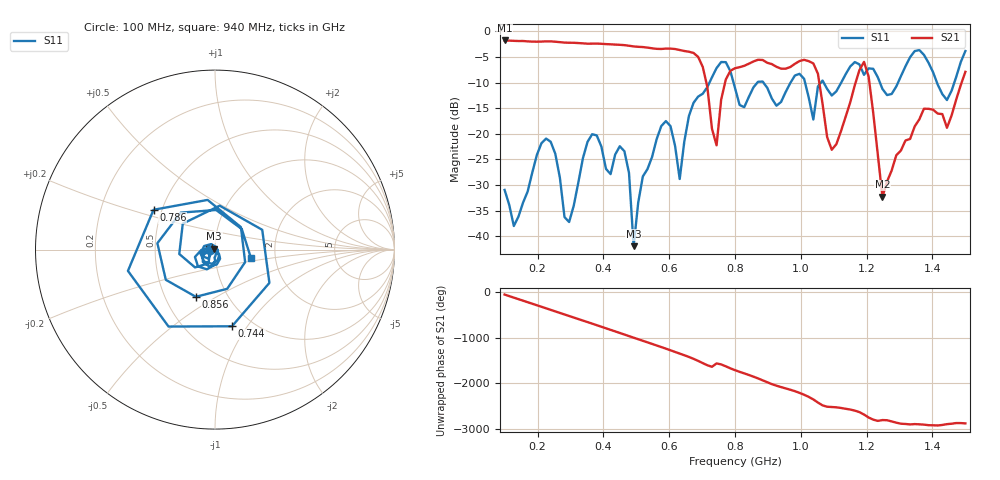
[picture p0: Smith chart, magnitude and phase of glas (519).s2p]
! NanoVNA-App
! Date: 2025-09-25 15:59:31
! Start: 100MHz Stop: 1,5GHz Points: 101
! S-Parameter data: F S11 S21 S12 S22
# Hz S RI R 50
!  Frequency  S11_Real  S11_Imag  S21_Real  S21_Imag  S12_Real  S12_Imag  S22_Real  S22_Imag
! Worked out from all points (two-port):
!   101 points, 100 MHz to 1.5 GHz, reference 50 ohm
!   highest |S21| = -1.80 dB at 100 MHz (marker M1); lowest = -32.3 dB at 1.248 GHz (marker M2)
!   |S21| within 3 dB of the highest: start of sweep to 684.3 MHz
!   lowest |S11| = -41.9 dB at 492 MHz (marker M3), VSWR 1.02, Z = 49.5 + j0.597 ohm
!   |S11| at or under -10 dB: start of sweep to 722.6 MHz; 795.5 MHz to 868.1 MHz (72.63 MHz wide, 8.73 % of centre); 886.1 MHz to 968.9 MHz (82.79 MHz wide, 8.93 % of centre) (the widest 3 of 7)
!   S12 and S22 are empty: the file has one direction only
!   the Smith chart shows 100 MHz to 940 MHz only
!   S11 on the Smith chart (normalised r, x): 100 MHz: 0.95, -0.01; 744 MHz: 0.81, -0.85; 786 MHz: 0.45, +0.24; 856 MHz: 0.71, -0.41; 940 MHz: 1.49, -0.14
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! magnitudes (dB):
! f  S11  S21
! 100 MHz  -30.9  -1.8
! 128 MHz  -38.0  -1.9
! 226 MHz  -20.9  -2.0
! 296 MHz  -37.2  -2.2
! 338 MHz  -24.7  -2.4
! 464 MHz  -23.4  -2.7
! 492 MHz  -41.9  -3.0
! 576 MHz  -18.5  -3.5
! 632 MHz  -28.8  -3.7
! 702 MHz  -12.2  -7.0
! 744 MHz  -7.2  -22.2
! 786 MHz  -7.8  -7.7
! 800 MHz  -11.1  -7.2
! 856 MHz  -10.9  -5.9
! 940 MHz  -13.8  -7.3
! 1.038 GHz  -17.2  -6.3
! 1.094 GHz  -12.5  -23.1
! 1.192 GHz  -8.5  -6.0
! 1.248 GHz  -11.3  -32.3
! 1.276 GHz  -12.2  -27.1
! 1.444 GHz  -13.4  -18.8
! 1.5 GHz  -3.9  -7.9
